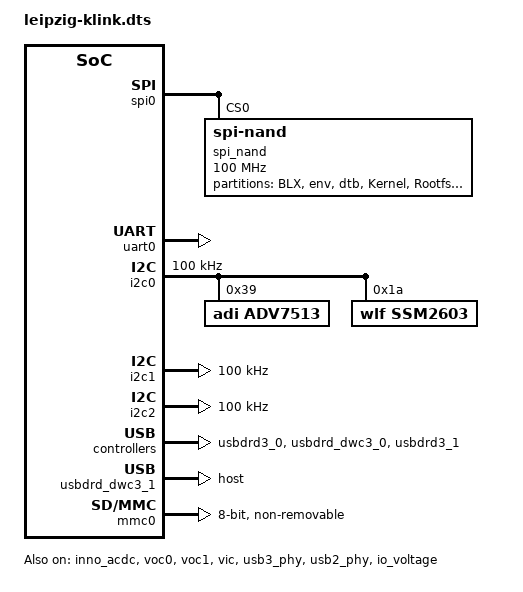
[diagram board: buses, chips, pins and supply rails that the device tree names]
// SPDX-License-Identifier: GPL-2.0-only
/*
 *
 * Copyright (C) 2023 VATICS Inc.
 *
 */
/dts-v1/;

/* reserved memory definitions */
#define SECURE_MEM_BASE 4000000
#define SECURE_MEM_SIZE 0x1000000
#define VQ7_MEM_BASE 5000000
#define VQ7_MEM_SIZE 0x1FFF000
#define VQ7_LOG_MEM_BASE 6FFF000
#define VQ7_LOG_MEM_SIZE 0x1000
#define RTOS_MEM_BASE 7000000
#define RTOS_MEM_SIZE 0x400000
#define EDMC_MEM_BASE F400000
#define EDMC_MEM_SIZE 0x70C00000

#include "leipzig.dtsi"
#include "leipzig-evm-pinctrl.dtsi"
#include "leipzig_parallel_sensor.dtsi"
#include "leipzig_mipi_sensor.dtsi"

/ {
	soc {
		eqos: dweqos@c4000000 {
			status = "disable";
			pinctrl-names = "default";
			pinctrl-0 = <&eqosc_pins>;
		};
	};
};
&spi0 {
	status = "okay";
	rx-sample-delay-ns = <10>;
	pinctrl-names = "default";
	pinctrl-0 = <&ssic0_quad_pins>;
	/delete-property/ cs-gpios;
	spi_nand@0 {
		#address-cells = <1>;
		#size-cells = <1>;
		compatible = "spi-nand";
		spi-tx-bus-width = <2>;
		spi-rx-bus-width = <2>;
		reg = <0>;
		spi-max-frequency = <100000000>;
		m25p,fast-read;
		spi-cpha;
		spi-cpol;
		partitions {
			compatible = "fixed-partitions";
			#address-cells = <1>;
			#size-cells = <1>;
			/*BL2 + BL31*/
			partition@0 {
				label = "BLX";
				reg = <0x00000000 0x00140000>;
			};
			partition@1 {
				label = "env";
				reg = <0x00140000 0x00080000>;
			};
			partition@2 {
				label = "dtb";
				reg = <0x001C0000 0x00080000>;
			};
			partition@3 {
				label = "Kernel";
				reg = <0x00340000 0x01280000>;
			};
			partition@4 {
				label = "Rootfs";
				reg = <0x01DC0000 0x01800000>;
			};
			partition@5 {
				label = "Ubifs";
				reg = <0x035C0000 0x0CA40000>;
			};
			partition@6 {
				label = "U-Boot";
				reg = <0x00240000 0x00100000>;
			};
			partition@7 {
				label = "OP-TEE";
				reg = <0x015C0000 0x00800000>;
			};
		};
	};
};

&spi1 {
	status = "disable";
	rx-sample-delay-ns = <10>;
	pinctrl-names = "default";
	pinctrl-0 = <&ssic1_pins>;
	/delete-property/ cs-gpios;
	spi_nor@0 {
		#address-cells = <1>;
		#size-cells = <1>;
		compatible = "jedec,spi-nor";
		reg = <0>;
		spi-max-frequency = <50000000>;
		m25p,fast-read;
		spi-cpha;
		spi-cpol;
		partitions {
			compatible = "fixed-partitions";
			#address-cells = <1>;
			#size-cells = <1>;
			partition@0 {
				label = "U-Boot";
				reg = <0x00000000 0x00140000>;
			};
			partition@1 {
				label = "env";
				reg = <0x00140000 0x00040000>;
			};
			partition@2 {
				label = "dtb";
				reg = <0x00180000 0x00010000>;
			};
			partition@3 {
				label = "Kernel";
				reg = <0x00190000 0x002e0000>;
			};
			partition@4 {
				label = "Rootfs";
				reg = <0x00470000 0x00470000>;
			};
			partition@5 {
				label = "Jffs2";
				reg = <0x008e0000 0x00720000>;
			};
		};
	};
};

&sound {
	status = "okay";
	/* (I) Use internal codec only */
	compatible = "vtx,evm-machine";
	/* (II) Use external codec only */
//	compatible = "vtx,evm-ssm2603-machine"; /* SSM2603 */
	/* (III) Both use internal and external codecs */
//	compatible = "vtx,evm-inno-ssm2603-machine"; /* INNOSILICON and SSM2603 */
};

&inno_acdc {
	status = "okay";
};

&uart0 {
	status = "okay";
	pinctrl-names = "default";
	pinctrl-0 = <&uart0_p0_s0_pins>;
};

&i2c0 {
	status = "okay";
	clock-frequency = <100000>;
	pinctrl-names = "default";
	pinctrl-0 = <&i2c0_pins>;
	/* HDMI Transmitter device: AD ADV7513 */
	adv7513@39 {
		compatible = "adi,adv7513";
		reg = <0x39>;
	};
	/* Audio Codec device: AD SSM2603 */
	ssm2603@1a {
		status = "okay";
		compatible = "wlf,ssm2603";
		reg = <0x1a>;
	};
};

&i2c1 {
	status = "okay";
	clock-frequency = <100000>;
	pinctrl-names = "default";
	pinctrl-0 = <&i2c1_p1_pins>;
};

&i2c2 {
	status = "okay";
	clock-frequency = <100000>;
};

&gpio0 {
	status = "okay";
};

&gpio1 {
	status = "okay";
};

&gpio2 {
	status = "okay";
};

&voc0 {
	status = "okay";
};

&voc1 {
	status = "okay";
};

&vic {
	status = "okay";
	pinctrl-names = "default";
	pinctrl-0 = <&vic0_pins>;
};

/* usb3 */
&usbdrd3_0 {
	status = "okay";
};

&usbdrd_dwc3_0 {
	status = "okay";
};

&usb3_phy {
	status = "okay";
};

&usbdrd3_1 {
	status = "okay";
};

&usbdrd_dwc3_1 {
	status = "okay";
	/* dr_mode = "host"; */
	dr_mode = "host";
};

&usb2_phy {
	status = "okay";
};
&mmc0 {
	status = "okay";
	is-emmc;
	mmc-ddr-3_3v;
	phy-clkdl = <60>;
	bus-width = <8>;
	max-frequency = <50000000>;
	broken-cd;
	non-removable;
	pinctrl-names = "default";
	pinctrl-0 = <&mshc_pins>;
};

//&mmc1 {
//    status = "okay";
//    phy-clkdl = <120>;
//};

&io_voltage {
	status = "okay";
	/*3300000, 2500000, 1800000*/
	pd1-default = <3300000>;
	pd5-default = <1800000>;
	pd6-default = <3300000>;
	pd9-default = <3300000>;
	pd10-default = <3300000>;
	pd11-default = <3300000>;
	pd13-default = <3300000>;
};

&pmu {
	status = "okay";

	rtc: sgc-rtc@0 {
		/*alarm = <&gpio2 14 0>;*/
	};
};
